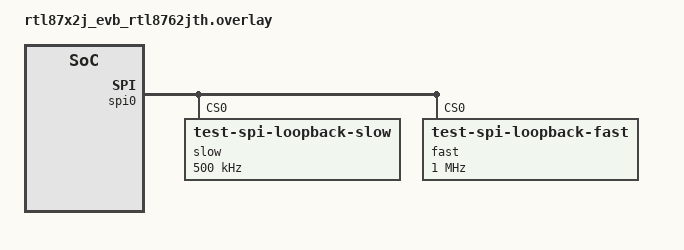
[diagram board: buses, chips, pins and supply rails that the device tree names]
/*
 * Copyright (c) 2026, Realtek Semiconductor Corporation
 *
 * SPDX-License-Identifier: Apache-2.0
 */

&gpioa {
	status = "okay";
	pinctrl-0 = <&gpioa_default>;
	pinctrl-names = "default";
	ngpios = <32>;
	status = "okay";
};

&dma0 {
	status = "okay";
};

&spi0 {
	status = "okay";
	pinctrl-0 = <&spi0_default>;
	pinctrl-names = "default";
	dmas = <&dma0 2 4 0x10021>, <&dma0 3 5 0xa>;
	dma-names = "tx", "rx";

	slow@0 {
		compatible = "test-spi-loopback-slow";
		reg = <0>;
		spi-max-frequency = <500000>;
	};

	fast@0 {
		compatible = "test-spi-loopback-fast";
		reg = <0>;
		spi-max-frequency = <1000000>;
	};
};

&pinctrl {
	spi0_default: spi0_default {
		group1 {
			psels = <BEE_PSEL(SPI0_CLK_MASTER, P6_0)>,
				<BEE_PSEL(SPI0_MO_MASTER, P6_1)>,
				<BEE_PSEL(SPI0_MI_MASTER, P6_2)>,
				<BEE_PSEL(SPI0_SS_N_0_MASTER, P6_3)>;
			output-enable;
			output-high;
			bias-pull-up;
		};
	};

	gpioa_default: gpioa_default {
		group1 {
			psels = <BEE_PSEL_GPIOA_25_P3_5>;
		};
	};
};
